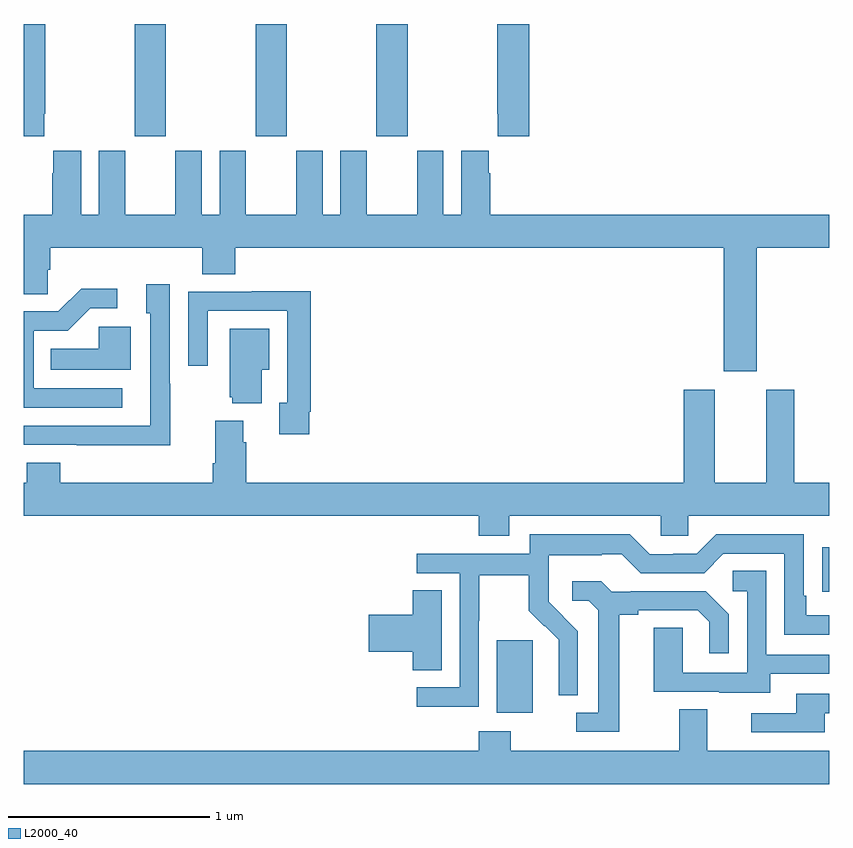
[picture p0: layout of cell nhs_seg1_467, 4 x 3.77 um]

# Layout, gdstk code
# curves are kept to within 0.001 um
import gdstk
lib = gdstk.Library(unit=1e-6, precision=1e-09)
def R(c, l, rs):  # rectangles x0, y0, x1, y1
    for r in rs: c.add(gdstk.rectangle(r[:2], r[2:], *l))
def A(c, l, x, y, w, h, nx, ny, dx, dy):  # array of equal rectangles
    R(c, l, [(x+i*dx, y+j*dy, x+i*dx+w, y+j*dy+h) for i in range(nx) for j in range(ny)])
def P(c, l, *ps):  # polygons
    for p in ps: c.add(gdstk.Polygon(p, *l))
L2000_40 = (2000, 40)

nhs_seg1_467 = lib.new_cell('nhs_seg1_467')
A(nhs_seg1_467, L2000_40, 137.551, 529.641, 0.155, 0.558, 3, 1, 0.6, 0)
R(nhs_seg1_467, L2000_40, [(139.349,526.778,139.528,527.139), (140.965,527.38,141,527.599)])
P(nhs_seg1_467, L2000_40, [(137.101,529.753),(137.106,529.753),(137.106,530.199),(137,530.199),(137,529.641),(137.101,529.641)],
  [(139.511,530.199),(139.351,530.199),(139.351,529.753),(139.355,529.753),(139.355,529.641),(139.511,529.641)],
  [(139.316,529.457),(139.309,529.457),(139.309,529.57),(139.172,529.57),(139.172,529.252),(139.084,529.252),(139.084,529.57),(138.953,529.57),(138.953,529.252),(138.703,529.252),(138.703,529.57),(138.572,529.57),(138.572,529.252),(138.484,529.252),(138.484,529.57),(138.353,529.57),(138.353,529.252),(138.103,529.252),(138.103,529.57),(137.972,529.57),(137.972,529.252),(137.884,529.252),(137.884,529.57),(137.753,529.57),(137.753,529.252),(137.503,529.252),(137.503,529.57),(137.372,529.57),(137.372,529.252),(137.284,529.252),(137.284,529.57),(137.147,529.57),(137.147,529.457),(137.141,529.457),(137.141,529.252),(137,529.252),(137,528.856),(137.118,528.856),(137.118,528.979),(137.132,528.979),(137.132,529.088),(137.885,529.088),(137.885,528.955),(138.05,528.955),(138.05,529.088),(140.477,529.088),(140.477,528.474),(140.641,528.474),(140.641,529.088),(141,529.088),(141,529.252),(139.316,529.252)],
  [(137.727,528.413),(137.724,528.413),(137.724,528.907),(137.609,528.907),(137.609,528.762),(137.628,528.762),(137.628,528.458),(137.627,528.458),(137.627,528.204),(137,528.204),(137,528.108),(137.263,528.108),(137.263,528.107),(137.727,528.107)],
  [(137.488,528.39),(137.049,528.39),(137.049,528.675),(137.218,528.675),(137.329,528.786),(137.464,528.786),(137.464,528.884),(137.285,528.884),(137.172,528.771),(137,528.771),(137,528.294),(137.488,528.294)],
  [(138.418,528.274),(138.425,528.274),(138.425,528.872),(138.133,528.872),(138.133,528.87),(137.817,528.87),(137.817,528.501),(137.913,528.501),(137.913,528.774),(138.309,528.774),(138.309,528.318),(138.269,528.318),(138.269,528.162),(138.418,528.162)],
  [(137.53,528.694),(137.373,528.694),(137.373,528.586),(137.134,528.586),(137.134,528.482),(137.53,528.482)],
  [(138.181,528.482),(138.22,528.482),(138.22,528.685),(138.023,528.685),(138.023,528.345),(138.035,528.345),(138.035,528.314),(138.181,528.314)],
  [(139.259,527.657),(139.411,527.657),(139.411,527.756),(140.163,527.756),(140.163,527.658),(140.301,527.658),(140.301,527.756),(141,527.756),(141,527.92),(140.827,527.92),(140.827,528.382),(140.687,528.382),(140.687,527.92),(140.431,527.92),(140.431,528.382),(140.279,528.382),(140.279,527.92),(138.104,527.92),(138.104,528.122),(138.091,528.122),(138.091,528.229),(137.951,528.229),(137.951,528.016),(137.939,528.016),(137.939,527.92),(137.18,527.92),(137.18,528.019),(137.015,528.019),(137.015,527.92),(137,527.92),(137,527.756),(139.259,527.756)],
  [(139.26,527.236),(139.263,527.236),(139.263,527.46),(139.507,527.46),(139.507,527.285),(139.584,527.208),(139.587,527.211),(139.658,527.141),(139.658,527.018),(139.656,527.018),(139.656,526.864),(139.752,526.864),(139.752,527.182),(139.606,527.33),(139.606,527.427),(139.608,527.427),(139.608,527.561),(139.871,527.561),(139.871,527.565),(139.971,527.565),(140.064,527.472),(140.379,527.472),(140.475,527.568),(140.778,527.568),(140.778,527.166),(141,527.166),(141,527.262),(140.887,527.262),(140.887,527.359),(140.874,527.359),(140.874,527.664),(140.439,527.664),(140.343,527.568),(140.225,527.568),(140.225,527.565),(140.109,527.565),(140.009,527.665),(139.512,527.665),(139.512,527.568),(138.951,527.568),(138.951,527.472),(139.164,527.472),(139.164,526.905),(138.951,526.905),(138.951,526.807),(139.26,526.807)],
  [(140.707,526.971),(141,526.971),(141,527.067),(140.688,527.067),(140.688,527.483),(140.52,527.483),(140.52,527.382),(140.592,527.382),(140.592,526.977),(140.274,526.977),(140.274,527.201),(140.129,527.201),(140.129,526.881),(140.453,526.881),(140.453,526.877),(140.707,526.877)],
  [(139.957,527.264),(140.053,527.264),(140.053,527.286),(140.348,527.286),(140.405,527.229),(140.405,527.073),(140.502,527.073),(140.502,527.266),(140.386,527.382),(140.014,527.382),(140.014,527.379),(139.92,527.379),(139.868,527.431),(139.725,527.431),(139.725,527.334),(139.806,527.334),(139.853,527.287),(139.853,526.779),(139.743,526.779),(139.743,526.683),(139.957,526.683)],
  [(139.075,527.387),(138.932,527.387),(138.932,527.264),(138.714,527.264),(138.714,527.081),(138.932,527.081),(138.932,526.99),(139.075,526.99)],
  [(140.977,526.776),(141,526.776),(141,526.872),(140.837,526.872),(140.837,526.776),(140.613,526.776),(140.613,526.68),(140.977,526.68)],
  [(141,526.588),(140.395,526.588),(140.395,526.796),(140.255,526.796),(140.255,526.588),(139.419,526.588),(139.419,526.687),(139.259,526.687),(139.259,526.588),(137,526.588),(137,526.424),(141,526.424)])

lib.write_gds('nhs_seg1_467.gds')
